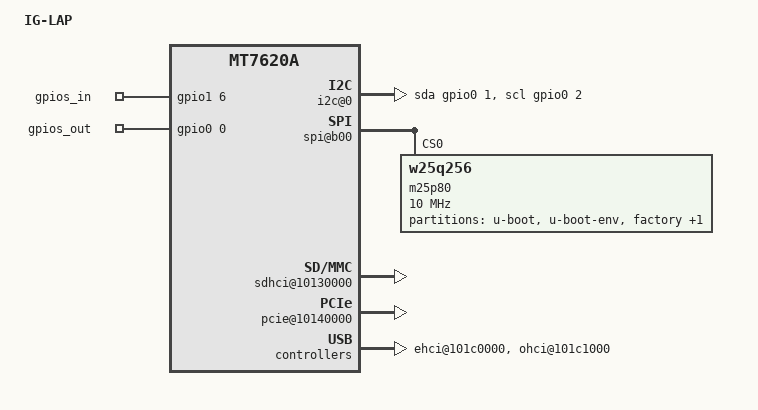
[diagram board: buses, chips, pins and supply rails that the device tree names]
/dts-v1/;

/include/ "mt7620a.dtsi"

/ {
	compatible = "ralink,mt7620a-eval-board", "ralink,mt7620a-soc";
	model = "IG-LAP"; 

	palmbus@10000000 {
          gpio0: gpio@600 {
              status = "okay";
          };
          
          gpio1: gpio@638 {
              status = "okay";
          };
          
          gpio2: gpio@660 {
              status = "okay";
          };
          
          gpio3: gpio@688 {
              status = "okay";
          };



	i2c@0 {
		compatible = "i2c-gpio";
		gpios =<&gpio0 1 0
			&gpio0 2 0>;
		i2c-gpio,delay-us = <20>;
		#address-cells = <1>;
		#size-cells = <0>;
	};

		spi@b00 {
			status = "okay";

			pinctrl-names = "default";

			m25p80@0 {
				#address-cells = <1>;
				#size-cells = <1>;
				compatible = "w25q256";
				reg = <0 0>;
				linux,modalias = "m25p80", "w25q256";
				spi-max-frequency = <10000000>;

				partition@0 {
					label = "u-boot";
					reg = <0x0 0x30000>;
					read-only;
				};

				partition@30000 {
					label = "u-boot-env";
					reg = <0x30000 0x10000>;
					read-only;
				};

				factory: partition@40000 {
					label = "factory";
					reg = <0x40000 0x10000>;
					read-only;
				};

				partition@50000 {
					label = "firmware";
					reg = <0x50000 0x1FB0000>;
				};
			};

		};
	};

	pinctrl {
		state_default: pinctrl0 {
			gpio {
				ralink,group = "ephy","wled","i2c", "rgmii1","rgmii2","mdio", "pa";
				ralink,function = "gpio";
			};
		};
	};

	gpio_export { 
		compatible = "gpio-export";
		#size-cells = <0>;
		gpios_in { 
		    gpios = <
			 &gpio1 6 0
			 &gpio1 7 0
			 &gpio1 8 0
			 &gpio1 9 0
			 &gpio1 10 0
			&gpio2 26 0 
			&gpio2 27 0 
			&gpio2 28 0 
			&gpio2 29 0 
			&gpio2 30 0 >;
		     gpio-export,direction_may_change;
		 };
		gpios_out { 
		    gpios = <
			 &gpio0 0 0
			 &gpio0 20 0
			 &gpio0 21 0
			 &gpio0 22 0
			 &gpio0 23 0
			 &gpio1 0 0
			 &gpio1 1 0
			 &gpio1 2 0
			 &gpio1 3 0
			 &gpio1 4 0
			 &gpio1 13 0
			 &gpio2 20 0
			 &gpio2 21 0
			 &gpio2 22 0
			 &gpio2 23 0
			 &gpio2 24 0
			 &gpio2 25 0 >;                      
		    gpio-export,direction_may_change;
		}; 

        };


	ethernet@10100000 {
	  mtd-mac-address = <&factory 0x4>;
	  ralink,port-map = "wllll";
	};

	wmac@10180000 {
		ralink,mtd-eeprom = <&factory 0>;
	};

	gsw@10110000 {
		ralink,port4 = "gmac";
	};

	sdhci@10130000 {
		status = "okay";
	};

	pcie@10140000 {
		status = "okay";
	};



	ehci@101c0000 {
		status = "okay";
	};

	ohci@101c1000 {
		status = "okay";
	};
};
